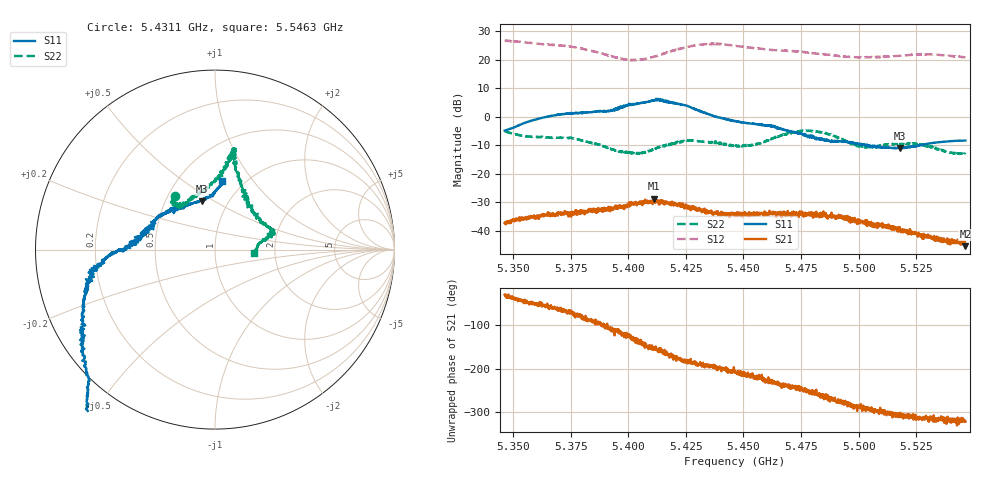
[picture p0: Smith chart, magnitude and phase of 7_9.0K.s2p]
# Hz  S  DB  R  50
! ADVANTEST Corporation R3860A
! Date: Wed Apr 11 19:53:42 2007
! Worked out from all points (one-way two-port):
!   1601 points, 5.3463 GHz to 5.5463 GHz, reference 50 ohm
!   highest |S21| = -28.78 dB at 5.4112 GHz (marker M1); lowest = -45.4 dB at 5.5463 GHz (marker M2)
!   lowest |S11| = -11.0 dB at 5.5179 GHz (marker M3), VSWR 1.78, Z = 37.5 + j22 ohm
!   |S11| at or under -10 dB: 5.502812 GHz to 5.502947 GHz (135.2 kHz wide, 0.00246 % of centre); 5.503785 GHz to 5.504426 GHz (640.5 kHz wide, 0.0116 % of centre); 5.504455 GHz to 5.526302 GHz (21.85 MHz wide, 0.396 % of centre) (the widest 3 of 6)
!   |S22| runs from -13.2 to -4.8 dB; largest |S21 - S12| = 22
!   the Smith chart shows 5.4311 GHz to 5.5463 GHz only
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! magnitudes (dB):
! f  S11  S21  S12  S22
! 5.3463 GHz  -4.8  -37.3  26.7  -5.1
! 5.3554 GHz  -2.0  -35.2  26.1  -6.9
! 5.3631 GHz  -0.3  -34.1  25.5  -7.0
! 5.3797 GHz  1.4  -32.7  23.9  -8.4
! 5.3912 GHz  2.0  -32.4  21.7  -10.9
! 5.3971 GHz  3.5  -31.3  20.4  -12.2
! 5.4052 GHz  4.8  -29.7  20.1  -13.0
! 5.4112 GHz  5.9  -28.8  21.1  -11.3
! 5.4131 GHz  6.1  -30.0  21.5  -10.7
! 5.4257 GHz  3.8  -31.4  24.5  -8.3
! 5.4369 GHz  0.3  -34.0  25.5  -9.1
! 5.4463 GHz  -1.5  -34.7  24.9  -10.3
! 5.4532 GHz  -2.4  -34.0  24.3  -10.0
! 5.4623 GHz  -3.4  -34.0  23.4  -7.8
! 5.4737 GHz  -5.7  -33.9  23.0  -5.1
! 5.4797 GHz  -7.4  -33.6  22.4  -4.9
! 5.4923 GHz  -8.7  -34.6  21.3  -7.7
! 5.5023 GHz  -9.9  -37.1  21.0  -10.5
! 5.5131 GHz  -10.8  -39.0  21.2  -9.7
! 5.5179 GHz  -11.0  -39.6  21.4  -9.4
! 5.5242 GHz  -10.5  -41.1  21.7  -9.4
! 5.5463 GHz  -8.3  -45.4  20.8  -13.1
